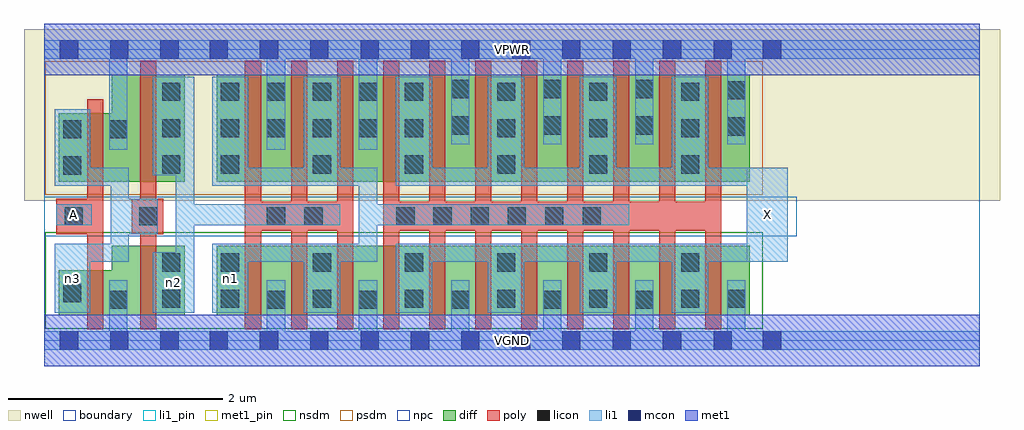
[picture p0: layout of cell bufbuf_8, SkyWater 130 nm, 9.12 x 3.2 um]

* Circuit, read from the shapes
.subckt bufbuf_8 A VGND VPWR X n1 n2 n3
XM1 VGND A n3 VSUBS sky130_fd_pr__nfet_01v8 w=0.42 l=0.15
XM2 n2 n3 VGND VSUBS sky130_fd_pr__nfet_01v8 w=0.65 l=0.15
XM3 VGND n2 n1 VSUBS sky130_fd_pr__nfet_01v8 w=0.65 l=0.15 m=3
XM4 X n1 VGND VSUBS sky130_fd_pr__nfet_01v8 w=0.65 l=0.15 m=8
XM5 VPWR A n3 n4 sky130_fd_pr__pfet_01v8 w=0.64 l=0.15
XM6 n2 n3 VPWR n4 sky130_fd_pr__pfet_01v8 w=1 l=0.15
XM7 VPWR n2 n1 n4 sky130_fd_pr__pfet_01v8 w=1 l=0.15 m=3
XM8 X n1 VPWR n4 sky130_fd_pr__pfet_01v8 w=1 l=0.15 m=8
.ends

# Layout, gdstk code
import gdstk
lib = gdstk.Library(unit=1e-6, precision=1e-09)
def R(c, l, rs):  # rectangles x0, y0, x1, y1
    for r in rs: c.add(gdstk.rectangle(r[:2], r[2:], *l))
def A(c, l, x, y, w, h, nx, ny, dx, dy):  # array of equal rectangles
    R(c, l, [(x+i*dx, y+j*dy, x+i*dx+w, y+j*dy+h) for i in range(nx) for j in range(ny)])
nwell = (64, 20)
diff = (65, 20)
poly = (66, 20)
licon = (66, 44)
li1_pin = (67, 16)
li1 = (67, 20)
mcon = (67, 44)
met1_pin = (68, 16)
met1 = (68, 20)
nsdm = (93, 44)
psdm = (94, 20)
npc = (95, 20)
boundary = (235, 4)

bufbuf_8 = lib.new_cell('bufbuf_8')
R(bufbuf_8, nwell, [(-0.19,1.305,8.93,2.91), (0,1.305,8.74,2.91)])
R(bufbuf_8, diff, [(0.135,0.235,1.31,0.655), (0.63,0.235,1.31,0.885), (1.61,0.235,6.59,0.885), (0.135,1.485,1.31,2.125), (0.63,1.485,1.31,2.485), (1.61,1.485,6.59,2.485)])
A(bufbuf_8, poly, 1.875, 0.105, 0.15, 2.51, 11, 1, 0.43, 0)
R(bufbuf_8, poly, [(0.4,0.105,0.55,2.255), (0.895,0.105,1.045,2.615), (0.11,0.995,0.55,1.325), (0.815,0.995,1.11,1.325), (1.875,1.025,2.885,1.295), (3.165,1.025,6.325,1.295)])
A(bufbuf_8, licon, 2.08, 0.295, 0.17, 0.17, 5, 1, 0.86, 0)
A(bufbuf_8, licon, 1.65, 0.305, 0.17, 0.17, 6, 2, 0.86, 0.34)
A(bufbuf_8, licon, 4.33, 1.075, 0.17, 0.17, 3, 1, 0.35, 0)
A(bufbuf_8, licon, 1.1, 1.56, 0.17, 0.17, 1, 3, 0, 0.34)
A(bufbuf_8, licon, 1.65, 1.56, 0.17, 0.17, 6, 1, 0.86, 0)
A(bufbuf_8, licon, 1.65, 1.9, 0.17, 0.17, 5, 2, 0.43, 0.34)
A(bufbuf_8, licon, 4.23, 1.9, 0.17, 0.17, 3, 2, 0.86, 0.34)
A(bufbuf_8, licon, 3.8, 1.925, 0.17, 0.17, 3, 2, 0.86, 0.34)
R(bufbuf_8, licon, [(0.605,0.295,0.775,0.465), (1.1,0.305,1.27,0.475), (6.38,0.305,6.55,0.475), (0.175,0.36,0.345,0.53), (1.1,0.645,1.27,0.815), (0.19,1.075,0.36,1.245), (0.885,1.075,1.055,1.245), (2.08,1.075,2.25,1.245), (2.43,1.075,2.6,1.245), (3.29,1.075,3.46,1.245), (3.635,1.075,3.805,1.245), (3.985,1.075,4.155,1.245), (0.175,1.55,0.345,1.72), (0.175,1.89,0.345,2.06), (0.605,1.89,0.775,2.06), (6.38,1.915,6.55,2.085), (6.38,2.255,6.55,2.425)])
R(bufbuf_8, li1_pin, [(6.565,0.735,6.945,1.615), (0.11,1.075,0.445,1.275)])
A(bufbuf_8, li1, 2.08, -0.085, 0.17, 0.65, 6, 1, 0.86, 0)
A(bufbuf_8, li1, 2.425, 0.26, 0.34, 0.645, 5, 1, 0.86, 0)
A(bufbuf_8, li1, 2.425, 1.445, 0.34, 1.02, 5, 1, 0.86, 0)
A(bufbuf_8, li1, 3.8, 1.835, 0.17, 0.97, 4, 1, 0.86, 0)
R(bufbuf_8, li1, [(0,-0.085,8.74,0.085), (0.605,-0.085,0.775,0.565), (0.095,0.26,0.43,0.905), (1.015,0.26,1.4,0.825), (1.23,0.26,1.4,2.465), (1.57,0.26,1.905,0.905), (0.095,0.735,0.79,0.905), (0.62,0.735,0.79,1.615), (1.57,0.735,3.11,0.905), (2.94,0.735,3.11,1.615), (3.285,0.735,6.945,0.905), (6.565,0.735,6.945,1.615), (0.62,0.995,1.06,1.325), (0.11,1.075,0.445,1.275), (1.23,1.075,2.765,1.275), (2.94,1.075,5.465,1.275), (0.095,1.445,0.79,1.615), (0.095,1.445,0.43,2.16), (1.57,1.445,3.11,1.615), (1.57,1.445,1.905,2.465), (3.285,1.445,6.945,1.615), (1.015,1.545,1.4,2.465), (0.605,1.785,0.775,2.805), (2.08,1.785,2.25,2.805), (2.94,1.785,3.11,2.805), (0,2.635,8.74,2.805)])
A(bufbuf_8, mcon, 0.145, -0.085, 0.17, 0.17, 3, 2, 0.47, 2.72)
A(bufbuf_8, mcon, 1.545, -0.085, 0.17, 0.17, 6, 2, 0.47, 2.72)
A(bufbuf_8, mcon, 4.37, -0.085, 0.17, 0.17, 4, 2, 0.47, 2.72)
R(bufbuf_8, mcon, [(6.255,-0.085,6.425,0.085), (6.715,-0.085,6.885,0.085), (6.255,2.635,6.425,2.805), (6.715,2.635,6.885,2.805)])
R(bufbuf_8, met1_pin, [(0,-0.24,8.74,0.24), (0,2.48,8.74,2.96)])
R(bufbuf_8, met1, [(0,-0.24,8.74,0.24), (0,2.48,8.74,2.96)])
R(bufbuf_8, nsdm, [(0.01,0.11,6.715,1.01)])
R(bufbuf_8, psdm, [(0.01,1.36,6.715,2.61)])
R(bufbuf_8, npc, [(0,0.975,7.03,1.345)])
R(bufbuf_8, boundary, [(0,0,8.74,2.72)])
bufbuf_8.add(gdstk.Label('A', (0.277,1.175), layer=67, texttype=5))
bufbuf_8.add(gdstk.Label('X', (6.755,1.175), layer=67, texttype=5))
bufbuf_8.add(gdstk.Label('n3', (0.262,0.582), layer=67, texttype=5))
bufbuf_8.add(gdstk.Label('n2', (1.207,0.542), layer=67, texttype=5))
bufbuf_8.add(gdstk.Label('n1', (1.737,0.582), layer=67, texttype=5))
bufbuf_8.add(gdstk.Label('VPWR', (4.37,2.72), layer=68, texttype=5))
bufbuf_8.add(gdstk.Label('VGND', (4.37,0), layer=68, texttype=5))
bufbuf_8.add(gdstk.Label('A', (0.277,1.175), layer=67, texttype=16))
bufbuf_8.add(gdstk.Label('X', (6.755,1.175), layer=67, texttype=16))
bufbuf_8.add(gdstk.Label('VPWR', (4.37,2.72), layer=68, texttype=16))
bufbuf_8.add(gdstk.Label('VGND', (4.37,0), layer=68, texttype=16))

lib.write_gds('bufbuf_8.gds')
